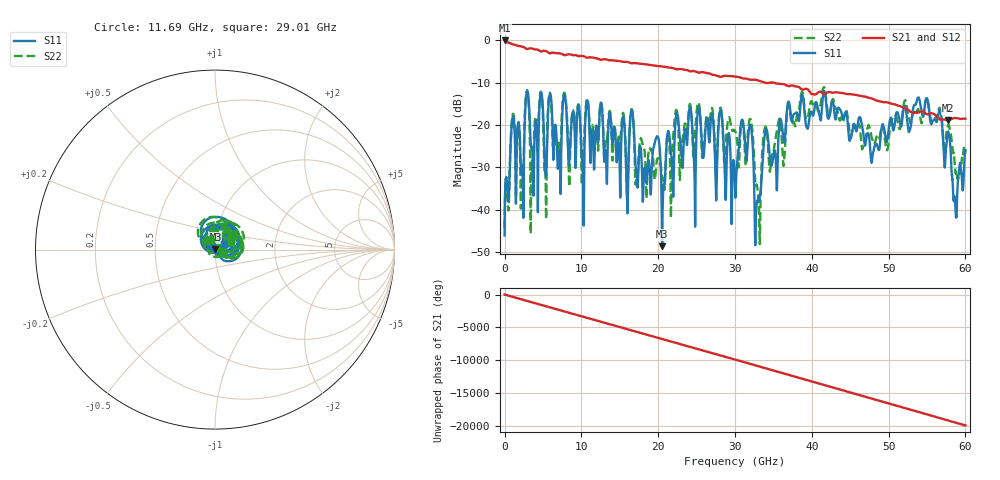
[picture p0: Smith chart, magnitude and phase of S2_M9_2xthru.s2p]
! 10/25/2016 5:43:55 PM
! D:\S2_M9.S2P
! CHANNEL.1
! TR.MEASUREMENT
! CORRECTED.DATA
# GHZ S RI R 50.0
! FREQ.GHZ  S11RE  S11IM  S21RE  S21IM  S12RE  S12IM  S22RE  S22IM
!; PortSelection: Port_12
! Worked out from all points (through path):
!   10000 points, 6 MHz to 60 GHz, reference 50 ohm
!   highest |S21| = -0.05 dB at 6 MHz (marker M1); lowest = -18.9 dB at 57.67 GHz (marker M2)
!   group delay of S21, straight-line fit = 921 ps
!   lowest |S11| = -48.6 dB at 20.51 GHz (marker M3), VSWR 1.01, Z = 50.3 + j0.268 ohm
!   |S11| at or under -10 dB: start of sweep to end of sweep
!   |S22| runs from -48.1 to -11.0 dB; largest |S21 - S12| = 0.0036
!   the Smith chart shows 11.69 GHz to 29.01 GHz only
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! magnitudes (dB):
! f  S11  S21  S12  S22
! 6 MHz  -46.1  0.0  0.0  -44.3
! 1.062 GHz  -18.1  -1.0  -1.0  -17.5
! 2.292 GHz  -29.5  -1.5  -1.5  -29.7
! 2.946 GHz  -12.1  -2.1  -2.1  -11.8
! 3.564 GHz  -25.3  -2.0  -2.0  -28.5
! 4.716 GHz  -12.5  -2.6  -2.6  -12.2
! 5.292 GHz  -31.1  -2.5  -2.5  -31.0
! 5.874 GHz  -12.8  -3.1  -3.1  -12.4
! 7.086 GHz  -26.2  -3.1  -3.1  -24.5
! 10.01 GHz  -25.9  -3.7  -3.7  -30.8
! 20 GHz  -23.0  -6.1  -6.1  -27.9
! 20.51 GHz  -48.6  -6.2  -6.2  -32.2
! 24.16 GHz  -15.7  -7.3  -7.3  -15.1
! 30.01 GHz  -35.1  -8.6  -8.6  -21.5
! 32 GHz  -19.9  -9.3  -9.3  -18.6
! 33.08 GHz  -37.3  -9.5  -9.5  -38.4
! 33.92 GHz  -21.8  -10.0  -10.0  -20.5
! 40 GHz  -17.0  -12.7  -12.7  -14.4
! 50 GHz  -21.0  -14.8  -14.8  -23.8
! 57.67 GHz  -22.1  -18.9  -18.9  -20.7
! 58.66 GHz  -38.6  -18.4  -18.3  -30.2
! 60 GHz  -26.0  -18.5  -18.5  -25.9
